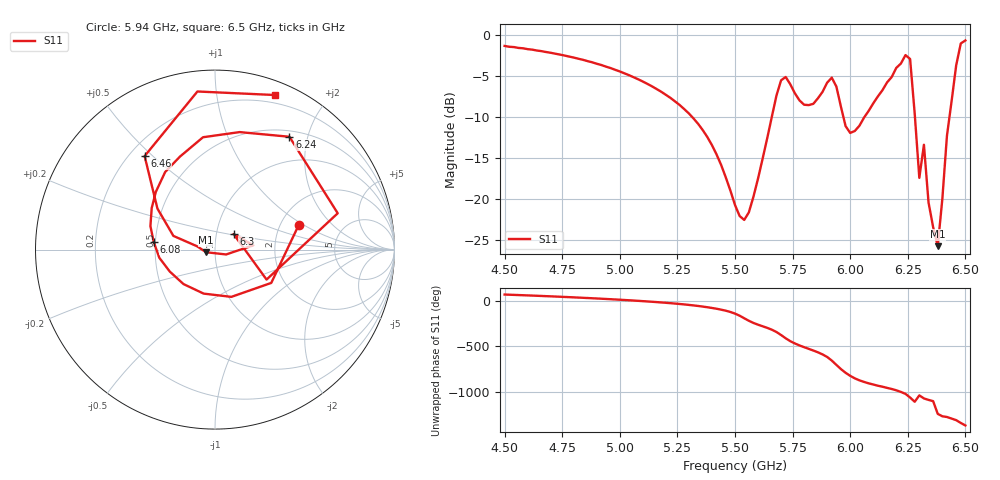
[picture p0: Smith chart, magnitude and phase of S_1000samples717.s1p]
! TOUCHSTONE file generated by CST MICROWAVE STUDIO
! Date and time: Sat Oct 29 03:24:14 2022
! Project name: L.cst
! Parameters = {Di=1.27; Epsilon_r=1.56; InnerDiameter=1.27; Length=2; Lf=10; Lg=60; OuterConductorThickness=0.2921; OuterDiameter=3.6; Wf=3; Wp=41.2; de=1.5; df=6.8; g=0.8; gx=1.42066; gy=2.44611; h=2.34; hf=1.524; px=11.1945; py=14.5385; w=9.7; wx=9.77383; wy=12.0924}
! Header version: 2018
! Port assignment regex: !\s*Touchstone port\s*([0-9]+)\s*=\s*(CST MWS port|CST DS port)\s*([0-9]+|Zmin|Zmax)\s*\(\"(.*)\"\)(\s*mode\s*([0-9]+))?.*
! Touchstone port assignment:
! Touchstone port 1 = CST MWS port 1 ("")
# GHz S DB R 50
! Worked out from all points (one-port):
!   101 points, 4.5 GHz to 6.5 GHz, reference 50 ohm
!   lowest |S11| = -25.7 dB at 6.38 GHz (marker M1), VSWR 1.11, Z = 45.2 - j1.32 ohm
!   |S11| at or under -10 dB: 5.314 GHz to 5.66 GHz (345.2 MHz wide, 6.29 % of centre); 5.971 GHz to 6.062 GHz (91.11 MHz wide, 1.51 % of centre); 6.281 GHz to 6.431 GHz (149.7 MHz wide, 2.36 % of centre)
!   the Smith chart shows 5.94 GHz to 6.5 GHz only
!   S11 on the Smith chart (normalised r, x): 5.94 GHz: 2.52, +0.89; 6.08 GHz: 0.49, +0.05; 6.24 GHz: 0.59, +1.70; 6.3 GHz: 1.21, +0.21; 6.46 GHz: 0.26, +0.47; 6.5 GHz: 0.12, +1.46
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4.5  -1.35 71.0
4.76  -2.52 44.5
5  -4.45 13.9
5.26  -8.54 -33.0
5.5  -20.69 -138.9
5.56  -21.59 142.2
5.66  -9.95 43.6
5.7  -5.53 -14.9
5.72  -5.12 -51.0
5.76  -7.11 -108.0
5.86  -7.71 154.5
5.9  -5.81 103.3
5.92  -5.21 63.5
5.94  -6.29 16.2
5.96  -8.77 -30.6
6  -11.93 -104.5
6.08  -9.25 172.6
6.18  -5.14 110.7
6.24  -2.46 56.6
6.26  -2.94 16.5
6.28  -9.57 -30.2
6.3  -17.39 40.0
6.32  -13.37 6.3
6.38  -25.70 -163.7
6.42  -12.25 161.8
6.46  -3.71 127.0
6.48  -1.05 96.3
6.5  -0.68 68.7
